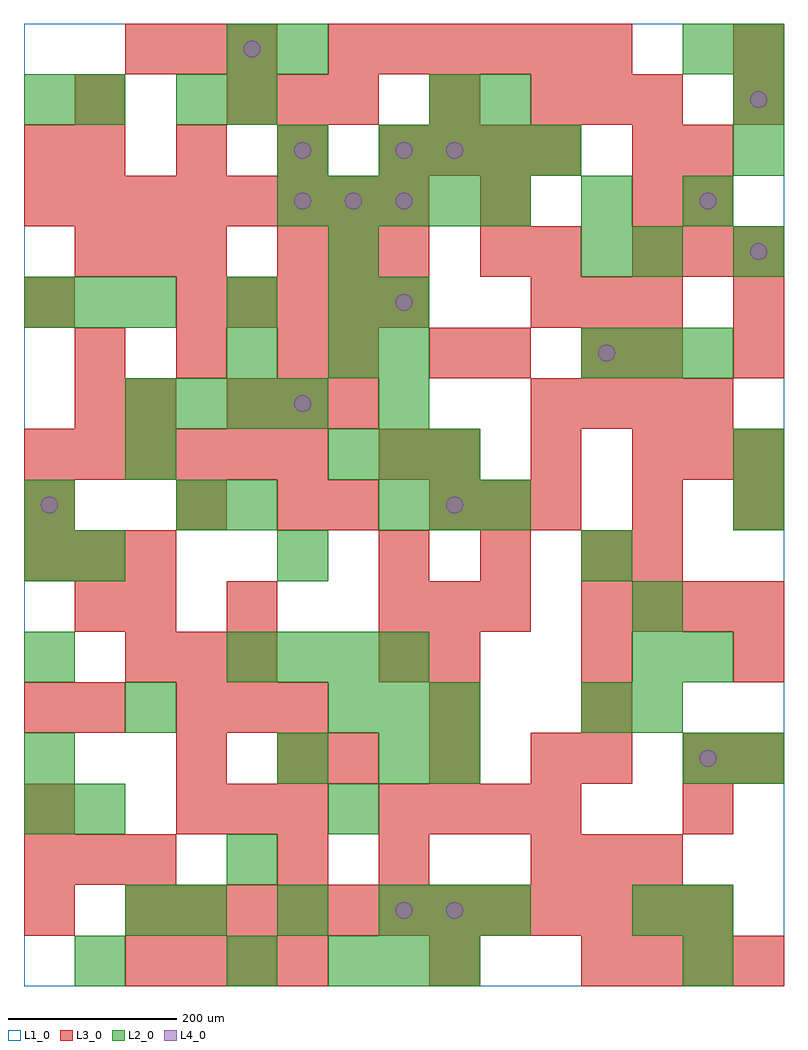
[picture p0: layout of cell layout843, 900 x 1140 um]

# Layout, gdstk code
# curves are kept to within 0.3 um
import gdstk
lib = gdstk.Library(unit=1e-6, precision=1e-09)
def R(c, l, rs):  # rectangles x0, y0, x1, y1
    for r in rs: c.add(gdstk.rectangle(r[:2], r[2:], *l))
def A(c, l, x, y, w, h, nx, ny, dx, dy):  # array of equal rectangles
    R(c, l, [(x+i*dx, y+j*dy, x+i*dx+w, y+j*dy+h) for i in range(nx) for j in range(ny)])
def P(c, l, *ps):  # polygons
    for p in ps: c.add(gdstk.Polygon(p, *l))
L1_0 = (1, 0)
L2_0 = (2, 0)
L3_0 = (3, 0)
L4_0 = (4, 0)

layout843 = lib.new_cell('layout843')
R(layout843, L1_0, [(0,0,900,1140)])
A(layout843, L2_0, 360, 0, 60, 60, 3, 3, 60, 300)
A(layout843, L2_0, 180, 60, 60, 60, 3, 1, 120, 0)
A(layout843, L2_0, 0, 240, 60, 60, 1, 3, 0, 120)
A(layout843, L2_0, 720, 300, 60, 60, 1, 3, 0, 60)
A(layout843, L2_0, 240, 360, 60, 60, 4, 1, 60, 0)
A(layout843, L2_0, 420, 540, 60, 60, 3, 1, 60, 0)
A(layout843, L2_0, 120, 660, 60, 60, 4, 1, 60, 0)
A(layout843, L2_0, 420, 660, 60, 60, 1, 3, 0, 60)
A(layout843, L2_0, 360, 720, 60, 60, 1, 3, 0, 60)
A(layout843, L2_0, 660, 720, 60, 60, 3, 1, 60, 0)
A(layout843, L2_0, 0, 780, 60, 60, 3, 1, 60, 0)
A(layout843, L2_0, 300, 900, 60, 60, 5, 1, 60, 0)
A(layout843, L2_0, 420, 960, 60, 60, 4, 1, 60, 0)
A(layout843, L2_0, 840, 960, 60, 60, 1, 3, 0, 60)
R(layout843, L2_0, [(60,0,120,60), (240,0,300,60), (780,0,840,60), (120,60,180,120), (480,60,540,120), (540,60,600,120), (720,60,780,120), (780,60,840,120), (240,120,300,180), (0,180,60,240), (60,180,120,240), (360,180,420,240), (300,240,360,300), (420,240,480,300), (480,240,540,300), (780,240,840,300), (840,240,900,300), (120,300,180,360), (660,300,720,360), (780,360,840,420), (60,480,120,540), (300,480,360,540), (660,480,720,540), (0,540,60,600), (180,540,240,600), (240,540,300,600), (840,540,900,600), (120,600,180,660), (840,600,900,660), (240,720,300,780), (240,780,300,840), (660,840,720,900), (720,840,780,900), (840,840,900,900), (660,900,720,960), (780,900,840,960), (300,960,360,1020), (0,1020,60,1080), (60,1020,120,1080), (180,1020,240,1080), (240,1020,300,1080), (480,1020,540,1080), (540,1020,600,1080), (240,1080,300,1140), (300,1080,360,1140), (780,1080,840,1140)])
A(layout843, L3_0, 120, 0, 60, 60, 4, 1, 60, 0)
A(layout843, L3_0, 660, 0, 60, 60, 4, 2, 60, 420)
A(layout843, L3_0, 0, 60, 60, 60, 1, 3, 0, 120)
A(layout843, L3_0, 120, 60, 60, 60, 12, 1, 60, 0)
A(layout843, L3_0, 0, 120, 60, 60, 3, 2, 60, 360)
A(layout843, L3_0, 420, 120, 60, 60, 1, 3, 0, 240)
A(layout843, L3_0, 600, 120, 60, 60, 3, 2, 60, 660)
A(layout843, L3_0, 180, 180, 60, 60, 3, 2, 60, 120)
A(layout843, L3_0, 420, 180, 60, 60, 4, 1, 60, 0)
A(layout843, L3_0, 360, 240, 60, 60, 3, 1, 120, 0)
A(layout843, L3_0, 120, 360, 60, 60, 3, 2, 60, 720)
A(layout843, L3_0, 480, 360, 60, 60, 3, 1, 180, 0)
A(layout843, L3_0, 420, 420, 60, 60, 3, 1, 60, 0)
A(layout843, L3_0, 420, 480, 60, 60, 3, 1, 120, 0)
A(layout843, L3_0, 480, 540, 60, 60, 3, 2, 60, 420)
A(layout843, L3_0, 720, 540, 60, 60, 1, 3, 0, 180)
A(layout843, L3_0, 0, 600, 60, 60, 6, 1, 60, 0)
A(layout843, L3_0, 480, 600, 60, 60, 3, 1, 120, 0)
A(layout843, L3_0, 240, 660, 60, 60, 3, 2, 60, 360)
A(layout843, L3_0, 600, 660, 60, 60, 4, 1, 60, 0)
A(layout843, L3_0, 60, 720, 60, 60, 3, 1, 120, 0)
A(layout843, L3_0, 180, 780, 60, 60, 5, 1, 60, 0)
A(layout843, L3_0, 60, 840, 60, 60, 3, 1, 60, 0)
A(layout843, L3_0, 300, 840, 60, 60, 3, 1, 60, 0)
A(layout843, L3_0, 720, 840, 60, 60, 3, 1, 60, 0)
A(layout843, L3_0, 0, 900, 60, 60, 8, 1, 60, 0)
A(layout843, L3_0, 60, 960, 60, 60, 4, 1, 120, 0)
A(layout843, L3_0, 600, 1020, 60, 60, 3, 1, 60, 0)
A(layout843, L3_0, 360, 1080, 60, 60, 6, 1, 60, 0)
R(layout843, L3_0, [(480,0,540,60), (300,120,360,180), (780,180,840,240), (180,240,240,300), (300,240,360,300), (660,240,720,300), (780,240,840,300), (840,240,900,300), (60,300,120,360), (480,300,540,360), (660,300,720,360), (60,420,120,480), (120,420,180,480), (240,420,300,480), (720,480,780,540), (0,540,60,600), (180,540,240,600), (300,540,360,600), (360,540,420,600), (840,540,900,600), (780,600,840,660), (840,600,900,660), (60,660,120,720), (120,660,180,720), (360,720,420,780), (480,720,540,780), (540,720,600,780), (660,720,720,780), (840,720,900,780), (0,780,60,840), (840,780,900,840), (540,840,600,900), (600,840,660,900), (540,900,600,960), (780,900,840,960), (0,960,60,1020), (720,960,780,1020), (780,960,840,1020), (60,1020,120,1080), (480,1020,540,1080), (840,1020,900,1080), (840,1080,900,1140)])
P(layout843, L4_0, [(40,570),(39.239,573.827),(37.071,577.071),(33.827,579.239),(30,580),(26.173,579.239),(22.929,577.071),(20.761,573.827),(20,570),(20.761,566.173),(22.929,562.929),(26.173,560.761),(30,560),(33.827,560.761),(37.071,562.929),(39.239,566.173)],
  [(280,1110),(279.239,1113.827),(277.071,1117.071),(273.827,1119.239),(270,1120),(266.173,1119.239),(262.929,1117.071),(260.761,1113.827),(260,1110),(260.761,1106.173),(262.929,1102.929),(266.173,1100.761),(270,1100),(273.827,1100.761),(277.071,1102.929),(279.239,1106.173)],
  [(340,690),(339.239,693.827),(337.071,697.071),(333.827,699.239),(330,700),(326.173,699.239),(322.929,697.071),(320.761,693.827),(320,690),(320.761,686.173),(322.929,682.929),(326.173,680.761),(330,680),(333.827,680.761),(337.071,682.929),(339.239,686.173)],
  [(340,930),(339.239,933.827),(337.071,937.071),(333.827,939.239),(330,940),(326.173,939.239),(322.929,937.071),(320.761,933.827),(320,930),(320.761,926.173),(322.929,922.929),(326.173,920.761),(330,920),(333.827,920.761),(337.071,922.929),(339.239,926.173)],
  [(340,990),(339.239,993.827),(337.071,997.071),(333.827,999.239),(330,1000),(326.173,999.239),(322.929,997.071),(320.761,993.827),(320,990),(320.761,986.173),(322.929,982.929),(326.173,980.761),(330,980),(333.827,980.761),(337.071,982.929),(339.239,986.173)],
  [(400,930),(399.239,933.827),(397.071,937.071),(393.827,939.239),(390,940),(386.173,939.239),(382.929,937.071),(380.761,933.827),(380,930),(380.761,926.173),(382.929,922.929),(386.173,920.761),(390,920),(393.827,920.761),(397.071,922.929),(399.239,926.173)],
  [(460,90),(459.239,93.827),(457.071,97.071),(453.827,99.239),(450,100),(446.173,99.239),(442.929,97.071),(440.761,93.827),(440,90),(440.761,86.173),(442.929,82.929),(446.173,80.761),(450,80),(453.827,80.761),(457.071,82.929),(459.239,86.173)],
  [(460,810),(459.239,813.827),(457.071,817.071),(453.827,819.239),(450,820),(446.173,819.239),(442.929,817.071),(440.761,813.827),(440,810),(440.761,806.173),(442.929,802.929),(446.173,800.761),(450,800),(453.827,800.761),(457.071,802.929),(459.239,806.173)],
  [(460,930),(459.239,933.827),(457.071,937.071),(453.827,939.239),(450,940),(446.173,939.239),(442.929,937.071),(440.761,933.827),(440,930),(440.761,926.173),(442.929,922.929),(446.173,920.761),(450,920),(453.827,920.761),(457.071,922.929),(459.239,926.173)],
  [(460,990),(459.239,993.827),(457.071,997.071),(453.827,999.239),(450,1000),(446.173,999.239),(442.929,997.071),(440.761,993.827),(440,990),(440.761,986.173),(442.929,982.929),(446.173,980.761),(450,980),(453.827,980.761),(457.071,982.929),(459.239,986.173)],
  [(520,90),(519.239,93.827),(517.071,97.071),(513.827,99.239),(510,100),(506.173,99.239),(502.929,97.071),(500.761,93.827),(500,90),(500.761,86.173),(502.929,82.929),(506.173,80.761),(510,80),(513.827,80.761),(517.071,82.929),(519.239,86.173)],
  [(520,570),(519.239,573.827),(517.071,577.071),(513.827,579.239),(510,580),(506.173,579.239),(502.929,577.071),(500.761,573.827),(500,570),(500.761,566.173),(502.929,562.929),(506.173,560.761),(510,560),(513.827,560.761),(517.071,562.929),(519.239,566.173)],
  [(520,990),(519.239,993.827),(517.071,997.071),(513.827,999.239),(510,1000),(506.173,999.239),(502.929,997.071),(500.761,993.827),(500,990),(500.761,986.173),(502.929,982.929),(506.173,980.761),(510,980),(513.827,980.761),(517.071,982.929),(519.239,986.173)],
  [(700,750),(699.239,753.827),(697.071,757.071),(693.827,759.239),(690,760),(686.173,759.239),(682.929,757.071),(680.761,753.827),(680,750),(680.761,746.173),(682.929,742.929),(686.173,740.761),(690,740),(693.827,740.761),(697.071,742.929),(699.239,746.173)],
  [(820,270),(819.239,273.827),(817.071,277.071),(813.827,279.239),(810,280),(806.173,279.239),(802.929,277.071),(800.761,273.827),(800,270),(800.761,266.173),(802.929,262.929),(806.173,260.761),(810,260),(813.827,260.761),(817.071,262.929),(819.239,266.173)],
  [(820,930),(819.239,933.827),(817.071,937.071),(813.827,939.239),(810,940),(806.173,939.239),(802.929,937.071),(800.761,933.827),(800,930),(800.761,926.173),(802.929,922.929),(806.173,920.761),(810,920),(813.827,920.761),(817.071,922.929),(819.239,926.173)],
  [(880,870),(879.239,873.827),(877.071,877.071),(873.827,879.239),(870,880),(866.173,879.239),(862.929,877.071),(860.761,873.827),(860,870),(860.761,866.173),(862.929,862.929),(866.173,860.761),(870,860),(873.827,860.761),(877.071,862.929),(879.239,866.173)],
  [(880,1050),(879.239,1053.827),(877.071,1057.071),(873.827,1059.239),(870,1060),(866.173,1059.239),(862.929,1057.071),(860.761,1053.827),(860,1050),(860.761,1046.173),(862.929,1042.929),(866.173,1040.761),(870,1040),(873.827,1040.761),(877.071,1042.929),(879.239,1046.173)])

lib.write_gds('layout843.gds')
